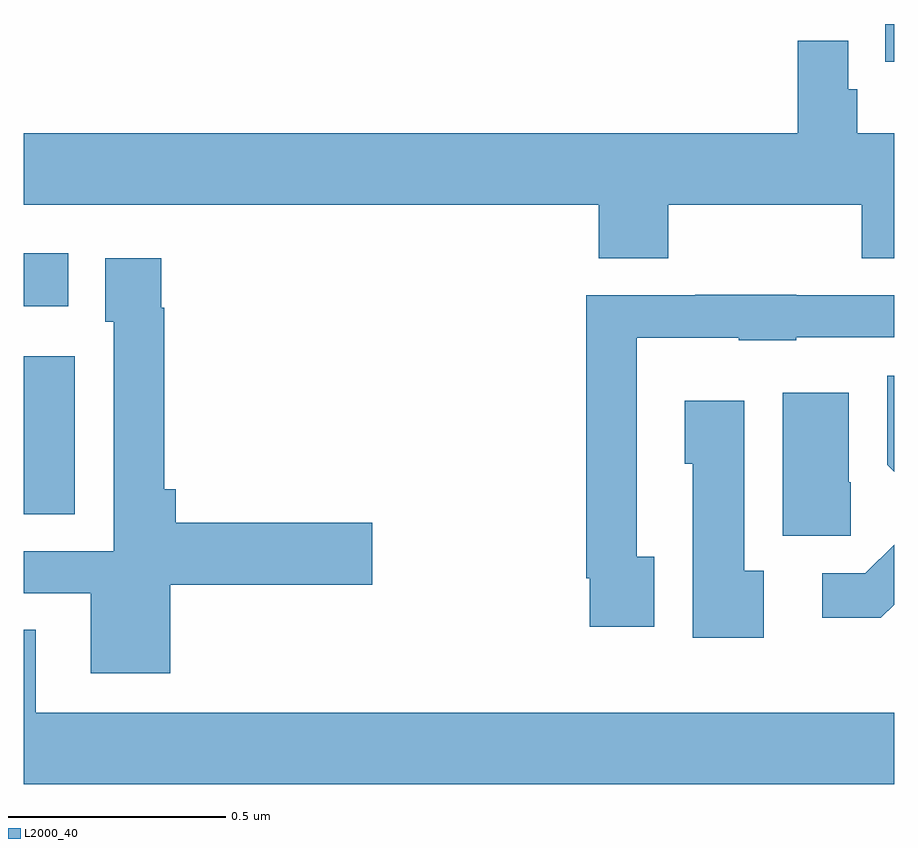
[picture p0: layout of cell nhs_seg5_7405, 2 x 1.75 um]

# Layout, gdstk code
import gdstk
lib = gdstk.Library(unit=1e-6, precision=1e-09)
def R(c, l, rs):  # rectangles x0, y0, x1, y1
    for r in rs: c.add(gdstk.rectangle(r[:2], r[2:], *l))
def P(c, l, *ps):  # polygons
    for p in ps: c.add(gdstk.Polygon(p, *l))
L2000_40 = (2000, 40)

nhs_seg5_7405 = lib.new_cell('nhs_seg5_7405')
R(nhs_seg5_7405, L2000_40, [(208,898.672,208.117,899.035), (208,899.15,208.102,899.272), (209.98,899.712,210,899.799)])
P(nhs_seg5_7405, L2000_40, [(209.481,899.384),(209.926,899.384),(209.926,899.26),(210,899.26),(210,899.548),(209.915,899.548),(209.915,899.649),(209.895,899.649),(209.895,899.761),(209.779,899.761),(209.779,899.548),(208,899.548),(208,899.384),(209.321,899.384),(209.321,899.26),(209.481,899.26)],
  [(208.336,898.51),(208.801,898.51),(208.801,898.652),(208.349,898.652),(208.349,898.729),(208.322,898.729),(208.322,899.147),(208.315,899.147),(208.315,899.26),(208.187,899.26),(208.187,899.115),(208.206,899.115),(208.206,898.587),(208,898.587),(208,898.491),(208.154,898.491),(208.154,898.307),(208.336,898.307)],
  [(209.449,898.574),(209.409,898.574),(209.409,899.078),(209.643,899.078),(209.643,899.072),(209.775,899.072),(209.775,899.079),(210,899.079),(210,899.175),(209.775,899.175),(209.775,899.177),(209.543,899.177),(209.543,899.175),(209.293,899.175),(209.293,898.525),(209.301,898.525),(209.301,898.413),(209.449,898.413)],
  [(210,898.99),(209.984,898.99),(209.984,898.786),(210,898.77)],
  [(209.9,898.746),(209.896,898.746),(209.896,898.951),(209.744,898.951),(209.744,898.623),(209.9,898.623)],
  [(209.701,898.542),(209.656,898.542),(209.656,898.933),(209.519,898.933),(209.519,898.788),(209.537,898.788),(209.537,898.388),(209.701,898.388)],
  [(210,898.464),(210,898.602),(209.934,898.536),(209.835,898.536),(209.835,898.434),(209.97,898.434)],
  [(210,898.216),(208.027,898.216),(208.027,898.406),(208,898.406),(208,898.052),(210,898.052)])

lib.write_gds('nhs_seg5_7405.gds')
